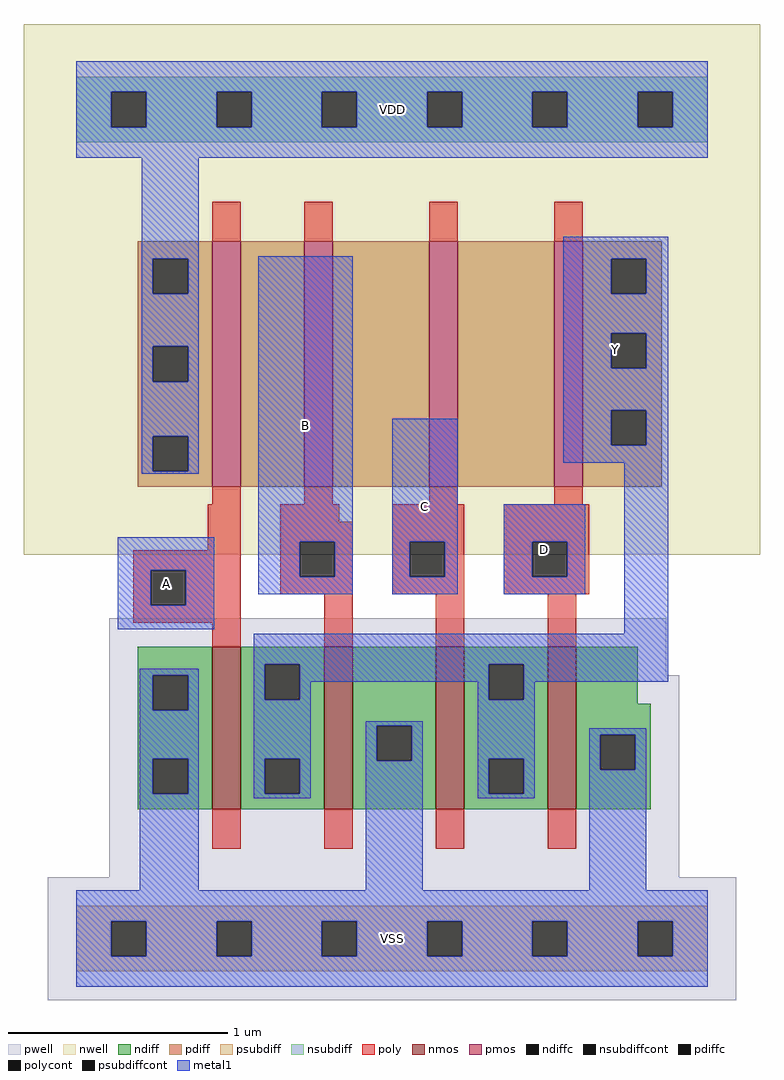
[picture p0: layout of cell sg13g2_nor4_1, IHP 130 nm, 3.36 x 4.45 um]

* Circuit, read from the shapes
.subckt sg13g2_nor4_1 VSS VDD B C Y A D
XM1 Y A VSS VSS sg13_lv_nmos w=0.74u l=0.13u
XM2 VSS B Y VSS sg13_lv_nmos w=0.74u l=0.13u
XM3 Y C VSS VSS sg13_lv_nmos w=0.74u l=0.13u
XM4 VSS D Y VSS sg13_lv_nmos w=0.74u l=0.13u
XM5 n1 A VDD VDD sg13_lv_pmos w=1.12u l=0.13u
XM6 n2 B n1 VDD sg13_lv_pmos w=1.12u l=0.13u
XM7 n3 C n2 VDD sg13_lv_pmos w=1.12u l=0.13u
XM8 Y D n3 VDD sg13_lv_pmos w=1.12u l=0.13u
.ends

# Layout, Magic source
magic
tech ihp-sg13g2
<< nwell >>
rect -24 175 312 417
<< pwell >>
rect 15 120 269 146
rect 15 28 275 120
rect -13 -28 301 28
<< nmos >>
rect 62 59 75 133
rect 113 59 126 133
rect 164 59 177 133
rect 215 59 228 133
<< pmos >>
rect 62 206 75 318
rect 104 206 117 318
rect 161 206 174 318
rect 218 206 231 318
<< ndiff >>
rect 28 120 62 133
rect 28 104 35 120
rect 51 104 62 120
rect 28 82 62 104
rect 28 66 35 82
rect 51 66 62 82
rect 28 59 62 66
rect 75 125 113 133
rect 75 109 86 125
rect 102 109 113 125
rect 75 82 113 109
rect 75 66 86 82
rect 102 66 113 82
rect 75 59 113 66
rect 126 97 164 133
rect 126 81 137 97
rect 153 81 164 97
rect 126 59 164 81
rect 177 125 215 133
rect 177 109 188 125
rect 204 109 215 125
rect 177 82 215 109
rect 177 66 188 82
rect 204 66 215 82
rect 177 59 215 66
rect 228 107 256 133
rect 228 93 262 107
rect 228 77 239 93
rect 255 77 262 93
rect 228 59 262 77
<< pdiff >>
rect 28 310 62 318
rect 28 294 35 310
rect 51 294 62 310
rect 28 270 62 294
rect 28 254 35 270
rect 51 254 62 270
rect 28 229 62 254
rect 28 213 35 229
rect 51 213 62 229
rect 28 206 62 213
rect 75 206 104 318
rect 117 206 161 318
rect 174 206 218 318
rect 231 310 267 318
rect 231 294 244 310
rect 260 294 267 310
rect 231 276 267 294
rect 231 260 244 276
rect 260 260 267 276
rect 231 241 267 260
rect 231 225 244 241
rect 260 225 267 241
rect 231 206 267 225
<< ndiffc >>
rect 35 104 51 120
rect 35 66 51 82
rect 86 109 102 125
rect 86 66 102 82
rect 137 81 153 97
rect 188 109 204 125
rect 188 66 204 82
rect 239 77 255 93
<< pdiffc >>
rect 35 294 51 310
rect 35 254 51 270
rect 35 213 51 229
rect 244 294 260 310
rect 244 260 260 276
rect 244 225 260 241
<< psubdiff >>
rect 0 8 288 15
rect 0 -8 16 8
rect 32 -8 64 8
rect 80 -8 112 8
rect 128 -8 160 8
rect 176 -8 208 8
rect 224 -8 256 8
rect 272 -8 288 8
rect 0 -15 288 -8
<< nsubdiff >>
rect 0 386 288 393
rect 0 370 16 386
rect 32 370 64 386
rect 80 370 112 386
rect 128 370 160 386
rect 176 370 208 386
rect 224 370 256 386
rect 272 370 288 386
rect 0 363 288 370
<< psubdiffcont >>
rect 16 -8 32 8
rect 64 -8 80 8
rect 112 -8 128 8
rect 160 -8 176 8
rect 208 -8 224 8
rect 256 -8 272 8
<< nsubdiffcont >>
rect 16 370 32 386
rect 64 370 80 386
rect 112 370 128 386
rect 160 370 176 386
rect 208 370 224 386
rect 256 370 272 386
<< poly >>
rect 62 318 75 336
rect 104 318 117 336
rect 161 318 174 336
rect 218 318 231 336
rect 62 198 75 206
rect 104 198 117 206
rect 161 198 174 206
rect 218 198 231 206
rect 60 177 75 198
rect 26 168 75 177
rect 26 152 34 168
rect 50 152 75 168
rect 93 190 120 198
rect 93 181 126 190
rect 93 165 102 181
rect 118 165 126 181
rect 93 157 126 165
rect 144 181 177 198
rect 144 165 152 181
rect 168 165 177 181
rect 144 157 177 165
rect 195 181 234 198
rect 195 165 208 181
rect 224 165 234 181
rect 195 157 234 165
rect 26 144 75 152
rect 62 133 75 144
rect 113 133 126 157
rect 164 133 177 157
rect 215 133 228 157
rect 62 41 75 59
rect 113 41 126 59
rect 164 41 177 59
rect 215 41 228 59
<< polycont >>
rect 34 152 50 168
rect 102 165 118 181
rect 152 165 168 181
rect 208 165 224 181
<< metal1 >>
rect 0 386 288 400
rect 0 370 16 386
rect 32 370 64 386
rect 80 370 112 386
rect 128 370 160 386
rect 176 370 208 386
rect 224 370 256 386
rect 272 370 288 386
rect 0 356 288 370
rect 30 310 56 356
rect 30 294 35 310
rect 51 294 56 310
rect 30 270 56 294
rect 30 254 35 270
rect 51 254 56 270
rect 30 229 56 254
rect 30 213 35 229
rect 51 213 56 229
rect 30 212 56 213
rect 19 168 63 183
rect 19 152 34 168
rect 50 152 63 168
rect 83 181 126 311
rect 222 310 270 320
rect 222 294 244 310
rect 260 294 270 310
rect 222 276 270 294
rect 222 260 244 276
rect 260 260 270 276
rect 222 241 270 260
rect 83 165 102 181
rect 118 165 126 181
rect 83 157 126 165
rect 144 181 174 237
rect 222 225 244 241
rect 260 225 270 241
rect 222 217 270 225
rect 144 165 152 181
rect 168 165 174 181
rect 144 157 174 165
rect 195 181 232 198
rect 195 165 208 181
rect 224 165 232 181
rect 195 157 232 165
rect 19 141 63 152
rect 250 139 270 217
rect 81 125 270 139
rect 29 120 56 123
rect 29 104 35 120
rect 51 104 56 120
rect 29 82 56 104
rect 29 66 35 82
rect 51 66 56 82
rect 29 22 56 66
rect 81 109 86 125
rect 102 117 188 125
rect 102 109 107 117
rect 81 82 107 109
rect 183 109 188 117
rect 204 117 270 125
rect 204 109 209 117
rect 81 66 86 82
rect 102 66 107 82
rect 81 64 107 66
rect 132 97 158 99
rect 132 81 137 97
rect 153 81 158 97
rect 132 22 158 81
rect 183 82 209 109
rect 183 66 188 82
rect 204 66 209 82
rect 183 64 209 66
rect 234 93 260 96
rect 234 77 239 93
rect 255 77 260 93
rect 234 22 260 77
rect 0 8 288 22
rect 0 -8 16 8
rect 32 -8 64 8
rect 80 -8 112 8
rect 128 -8 160 8
rect 176 -8 208 8
rect 224 -8 256 8
rect 272 -8 288 8
rect 0 -22 288 -8
<< labels >>
flabel metal1 s 0 -22 288 22 0 FreeSans 200 0 0 0 VSS
port 2 nsew
flabel metal1 s 0 356 288 400 0 FreeSans 200 0 0 0 VDD
port 3 nsew
flabel metal1 s 83 157 126 311 0 FreeSans 200 0 0 0 B
port 4 nsew
flabel metal1 s 144 157 174 237 0 FreeSans 200 0 0 0 C
port 5 nsew
flabel metal1 s 222 217 270 320 0 FreeSans 200 0 0 0 Y
port 6 nsew
flabel metal1 s 19 141 63 183 0 FreeSans 200 0 0 0 A
port 7 nsew
flabel metal1 s 195 157 232 198 0 FreeSans 200 0 0 0 D
port 8 nsew
<< properties >>
string FIXED_BBOX 0 0 288 378
string GDS_END 204846
string GDS_FILE ../gds/controller.gds
string GDS_START 199404
<< end >>
